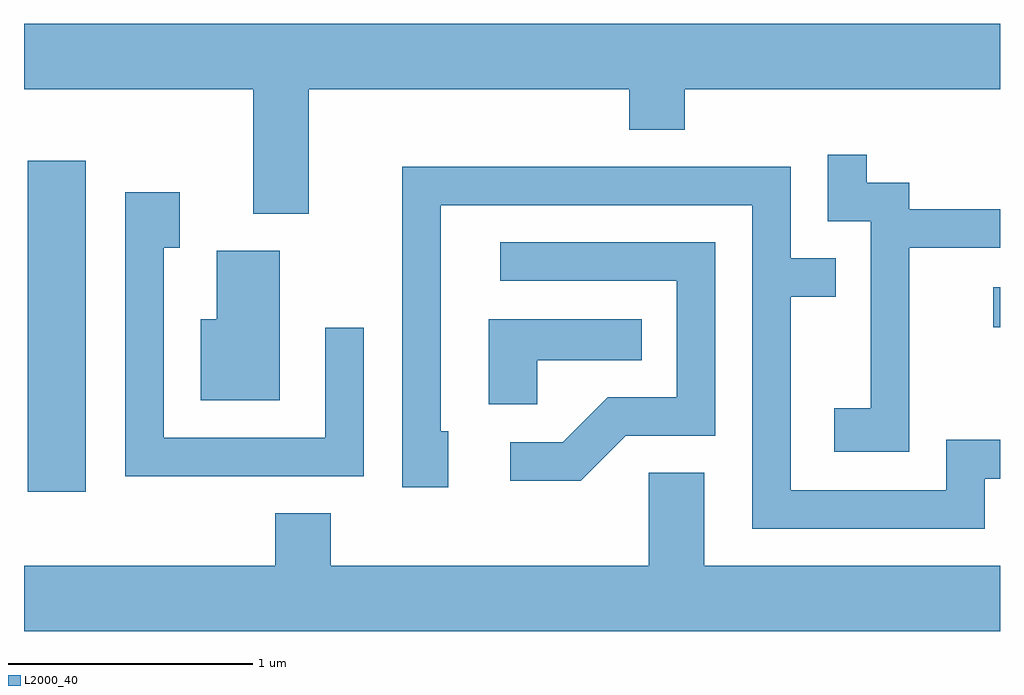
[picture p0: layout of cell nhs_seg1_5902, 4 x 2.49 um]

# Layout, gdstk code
import gdstk
lib = gdstk.Library(unit=1e-6, precision=1e-09)
def R(c, l, rs):  # rectangles x0, y0, x1, y1
    for r in rs: c.add(gdstk.rectangle(r[:2], r[2:], *l))
def P(c, l, *ps):  # polygons
    for p in ps: c.add(gdstk.Polygon(p, *l))
L2000_40 = (2000, 40)

nhs_seg1_5902 = lib.new_cell('nhs_seg1_5902')
R(nhs_seg1_5902, L2000_40, [(363.626,869.066,363.864,870.424), (367.583,869.741,367.611,869.904)])
P(nhs_seg1_5902, L2000_40, [(364.779,870.716),(366.091,870.716),(366.091,870.551),(366.319,870.551),(366.319,870.716),(367.611,870.716),(367.611,870.984),(363.611,870.984),(363.611,870.716),(364.551,870.716),(364.551,870.206),(364.779,870.206)],
  [(367.239,870.066),(367.611,870.066),(367.611,870.224),(367.239,870.224),(367.239,870.334),(367.064,870.334),(367.064,870.448),(366.906,870.448),(366.906,870.176),(367.081,870.176),(367.081,869.409),(366.931,869.409),(366.931,869.231),(367.239,869.231)],
  [(367.549,869.121),(367.611,869.121),(367.611,869.279),(367.391,869.279),(367.391,869.074),(366.754,869.074),(366.754,869.866),(366.938,869.866),(366.938,870.024),(366.754,870.024),(366.754,870.399),(365.161,870.399),(365.161,869.086),(365.349,869.086),(365.349,869.314),(365.319,869.314),(365.319,870.241),(366.596,870.241),(366.596,868.916),(367.549,868.916)],
  [(365.004,869.738),(364.846,869.738),(364.846,869.289),(364.184,869.289),(364.184,870.066),(364.249,870.066),(364.249,870.294),(364.026,870.294),(364.026,869.131),(365.004,869.131)],
  [(366.077,869.296),(366.444,869.296),(366.444,870.089),(365.563,870.089),(365.563,869.931),(366.286,869.931),(366.286,869.454),(366.004,869.454),(365.819,869.269),(365.603,869.269),(365.603,869.111),(365.892,869.111)],
  [(364.659,870.054),(364.401,870.054),(364.401,869.774),(364.336,869.774),(364.336,869.441),(364.659,869.441)],
  [(365.714,869.606),(366.143,869.606),(366.143,869.774),(365.516,869.774),(365.516,869.426),(365.714,869.426)],
  [(367.611,868.764),(366.399,868.764),(366.399,869.144),(366.171,869.144),(366.171,868.764),(364.869,868.764),(364.869,868.979),(364.641,868.979),(364.641,868.764),(363.611,868.764),(363.611,868.496),(367.611,868.496)])

lib.write_gds('nhs_seg1_5902.gds')
